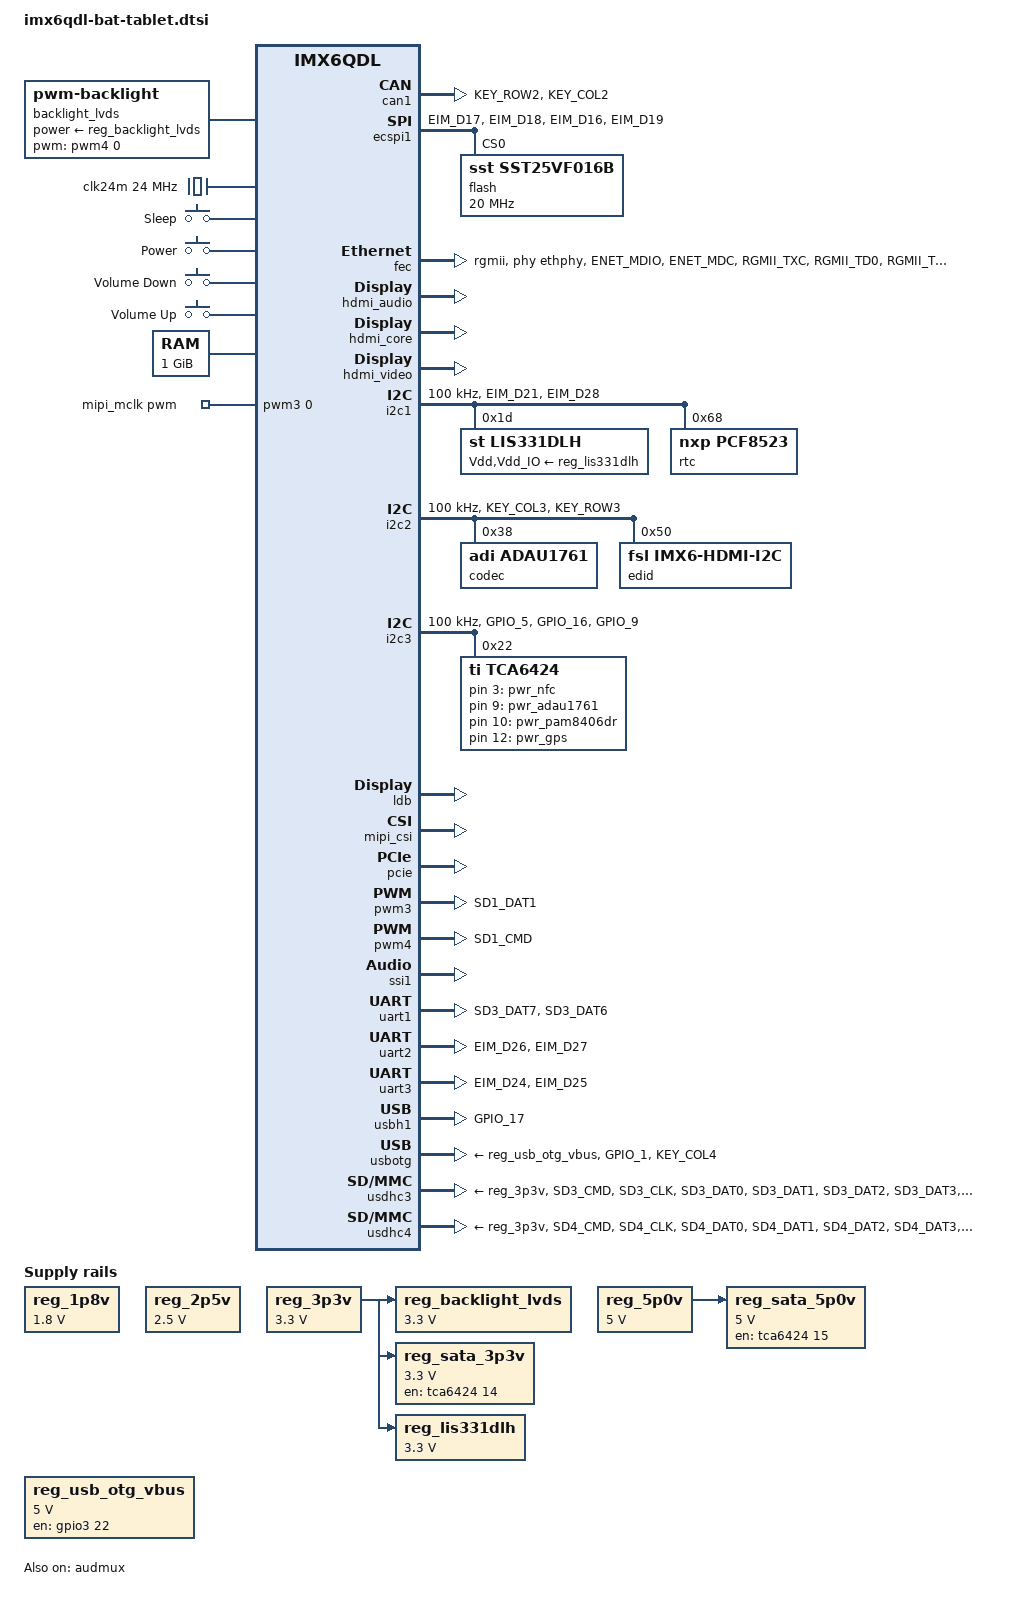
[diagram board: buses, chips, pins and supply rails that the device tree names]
/*
 * Copyright 2013-2016 Boundary Devices, Inc.
 * Copyright 2011-2015 Freescale Semiconductor, Inc.
 * Copyright 2011 Linaro Ltd.
 *
 * This file is dual-licensed: you can use it either under the terms
 * of the GPL or the X11 license, at your option. Note that this dual
 * licensing only applies to this file, and not this project as a
 * whole.
 *
 *  a) This file is free software; you can redistribute it and/or
 *     modify it under the terms of the GNU General Public License
 *     version 2 as published by the Free Software Foundation.
 *
 *     This file is distributed in the hope that it will be useful
 *     but WITHOUT ANY WARRANTY; without even the implied warranty of
 *     MERCHANTABILITY or FITNESS FOR A PARTICULAR PURPOSE.  See the
 *     GNU General Public License for more details.
 *
 * Or, alternatively
 *
 *  b) Permission is hereby granted, free of charge, to any person
 *     obtaining a copy of this software and associated documentation
 *     files (the "Software"), to deal in the Software without
 *     restriction, including without limitation the rights to use
 *     copy, modify, merge, publish, distribute, sublicense, and/or
 *     sell copies of the Software, and to permit persons to whom the
 *     Software is furnished to do so, subject to the following
 *     conditions:
 *
 *     The above copyright notice and this permission notice shall be
 *     included in all copies or substantial portions of the Software.
 *
 *     THE SOFTWARE IS PROVIDED , WITHOUT WARRANTY OF ANY KIND
 *     EXPRESS OR IMPLIED, INCLUDING BUT NOT LIMITED TO THE WARRANTIES
 *     OF MERCHANTABILITY, FITNESS FOR A PARTICULAR PURPOSE AND
 *     NONINFRINGEMENT. IN NO EVENT SHALL THE AUTHORS OR COPYRIGHT
 *     HOLDERS BE LIABLE FOR ANY CLAIM, DAMAGES OR OTHER LIABILITY
 *     WHETHER IN AN ACTION OF CONTRACT, TORT OR OTHERWISE, ARISING
 *     FROM, OUT OF OR IN CONNECTION WITH THE SOFTWARE OR THE USE OR
 *     OTHER DEALINGS IN THE SOFTWARE.
 */
#include <dt-bindings/gpio/gpio.h>
#include <dt-bindings/input/input.h>

&iomuxc {
	pinctrl-names = "default";
	pinctrl-0 = <&pinctrl_hog>;

	iomuxc_imx6q_bat_tablet: iomuxc-imx6q-bat-tabletgrp {
		status = "okay";
	};
};

&iomuxc_imx6q_bat_tablet {
	pinctrl_audmux: audmuxgrp {
		fsl,pins = <
			MX6QDL_PAD_SD2_DAT0__AUD4_RXD		0x130b0
			MX6QDL_PAD_SD2_DAT3__AUD4_TXC		0x130b0
			MX6QDL_PAD_SD2_DAT2__AUD4_TXD		0x110b0
			MX6QDL_PAD_SD2_DAT1__AUD4_TXFS		0x130b0
		>;
	};

	pinctrl_backlight_lvds: backlight-lvdsgrp {
		fsl,pins = <
		>;
#define GP_BACKLIGHT_LVDS_ENABLE		<&tca6424 6 GPIO_ACTIVE_HIGH>
#define GP_REGULATOR_BACKLIGHT_LVDS		<&tca6424 13 GPIO_ACTIVE_HIGH>
	};

	pinctrl_ecspi1: ecspi1grp {
		fsl,pins = <
			MX6QDL_PAD_EIM_D17__ECSPI1_MISO		0x100b1
			MX6QDL_PAD_EIM_D18__ECSPI1_MOSI		0x100b1
			MX6QDL_PAD_EIM_D16__ECSPI1_SCLK		0x000b1
#define GP_ECSPI1_NOR_CS	<&gpio3 19 GPIO_ACTIVE_LOW>
			MX6QDL_PAD_EIM_D19__GPIO3_IO19		0x0b0b1
		>;
	};

	pinctrl_enet: enetgrp {
		fsl,pins = <
			MX6QDL_PAD_ENET_MDIO__ENET_MDIO		0x1b0b0
			MX6QDL_PAD_ENET_MDC__ENET_MDC		0x1b0b0
			MX6QDL_PAD_RGMII_TXC__RGMII_TXC		0x100b0
			MX6QDL_PAD_RGMII_TD0__RGMII_TD0		0x100b0
			MX6QDL_PAD_RGMII_TD1__RGMII_TD1		0x100b0
			MX6QDL_PAD_RGMII_TD2__RGMII_TD2		0x100b0
			MX6QDL_PAD_RGMII_TD3__RGMII_TD3		0x100b0
			MX6QDL_PAD_RGMII_TX_CTL__RGMII_TX_CTL	0x100b0
			MX6QDL_PAD_ENET_REF_CLK__ENET_TX_CLK	0x100b0
			MX6QDL_PAD_RGMII_RXC__RGMII_RXC		0x1b0b0
			MX6QDL_PAD_RGMII_RD0__RGMII_RD0		0x1b0b0
			MX6QDL_PAD_RGMII_RD1__RGMII_RD1		0x1b0b0
			MX6QDL_PAD_RGMII_RD2__RGMII_RD2		0x1b0b0
			MX6QDL_PAD_RGMII_RD3__RGMII_RD3		0x1b0b0
			MX6QDL_PAD_RGMII_RX_CTL__RGMII_RX_CTL	0x1b0b0
#define GP_ENET_PHY_RESET	<&gpio3 23 GPIO_ACTIVE_LOW>
			MX6QDL_PAD_EIM_D23__GPIO3_IO23		0x030b0
#define GPIRQ_ENET_PHY		<&gpio1 28 IRQ_TYPE_LEVEL_LOW>
			MX6QDL_PAD_ENET_TX_EN__GPIO1_IO28	0x1b0b0
		>;
	};

	pinctrl_flexcan1: flexcan1grp {
		fsl,pins = <
			MX6QDL_PAD_KEY_ROW2__FLEXCAN1_RX	0x1b0b0
			MX6QDL_PAD_KEY_COL2__FLEXCAN1_TX	0x1b0b0
		>;
#define GP_FLEXCAN1_STANDBY	<&tca6424 18 GPIO_ACTIVE_LOW>
	};

	pinctrl_gpio_keys: gpio-keysgrp {
		fsl,pins = <
#define GP_GPIOKEY_POWER	<&gpio2 4 GPIO_ACTIVE_LOW>
			MX6QDL_PAD_NANDF_D4__GPIO2_IO04		0x1b0b0
#define GP_GPIOKEY_SLEEP	<&gpio2 3 GPIO_ACTIVE_HIGH>
			MX6QDL_PAD_NANDF_D3__GPIO2_IO03		0x1b0b0
#define GP_GPIOKEY_VOL_UP	<&gpio7 13 GPIO_ACTIVE_LOW>
			MX6QDL_PAD_GPIO_18__GPIO7_IO13		0x1b0b0
#define GP_GPIOKEY_VOL_DN	<&gpio4 5 GPIO_ACTIVE_LOW>
			MX6QDL_PAD_GPIO_19__GPIO4_IO05		0x1b0b0
		>;
	};

	pinctrl_hog: hoggrp {
		fsl,pins = <
			MX6QDL_PAD_NANDF_D7__GPIO2_IO07		0x1b0b0		/* Spare */
		>;
	};

	pinctrl_i2c1: i2c1grp {
		fsl,pins = <
			MX6QDL_PAD_EIM_D21__I2C1_SCL		0x4001b8b1
			MX6QDL_PAD_EIM_D28__I2C1_SDA		0x4001b8b1
		>;
	};

	pinctrl_i2c1_1: i2c1_1grp {
		fsl,pins = <
#define GP_I2C1_SCL	<&gpio3 21 GPIO_ACTIVE_HIGH>
			MX6QDL_PAD_EIM_D21__GPIO3_IO21		0x4001b8b1
#define GP_I2C1_SDA	<&gpio3 28 GPIO_ACTIVE_HIGH>
			MX6QDL_PAD_EIM_D28__GPIO3_IO28		0x4001b8b1
		>;
	};

	pinctrl_i2c2: i2c2grp {
		fsl,pins = <
			MX6QDL_PAD_KEY_COL3__I2C2_SCL		0x4001b8b1
			MX6QDL_PAD_KEY_ROW3__I2C2_SDA		0x4001b8b1
		>;
	};

	pinctrl_i2c2_1: i2c2_1grp {
		fsl,pins = <
#define GP_I2C2_SCL	<&gpio4 12 GPIO_ACTIVE_HIGH>
			MX6QDL_PAD_KEY_COL3__GPIO4_IO12		0x4001b8b1
#define GP_I2C2_SDA	<&gpio4 13 GPIO_ACTIVE_HIGH>
			MX6QDL_PAD_KEY_ROW3__GPIO4_IO13		0x4001b8b1
		>;
	};

	pinctrl_i2c2_adau1761: i2c2-adau1761grp {
		fsl,pins = <
			MX6QDL_PAD_GPIO_0__CCM_CLKO1		0x000b0		/* sys_mclk */
		>;
#define GP_ADAU1761_HP_DETECT <&tca6424 5 GPIO_ACTIVE_HIGH>
	};

	pinctrl_i2c2_ov5640_mipi_1: i2c2-ov5640-mipi-1grp {
		fsl,pins = <
#define GP_OV5640_MIPI_1_POWER_DOWN	<&gpio6 9 GPIO_ACTIVE_HIGH>
			MX6QDL_PAD_NANDF_WP_B__GPIO6_IO09	0x0b0b0
		>;
#define GP_OV5640_MIPI_1_RESET		<&tca6424 16 GPIO_ACTIVE_LOW>
	};

	pinctrl_i2c2_ov5640_mipi_2: i2c2-ov5640-mipi-2grp {
		fsl,pins = <
#define GP_OV5640_MIPI_2_POWER_DOWN	<&gpio2 5 GPIO_ACTIVE_HIGH>
			MX6QDL_PAD_NANDF_D5__GPIO2_IO05		0x0b0b0
		>;
#define GP_OV5640_MIPI_2_RESET		<&tca6424 17 GPIO_ACTIVE_LOW>
	};

	pinctrl_i2c2_lis331dlh: i2c2-lis331dlhgrp {
		fsl,pins = <
		>;
#define GP_REGULATOR_LIS331DLH		<&tca6424 11 GPIO_ACTIVE_HIGH>
#define GP_LIS331DLH_INT1			<&tca6424 0 GPIO_ACTIVE_HIGH>
#define GP_LIS331DLH_INT2			<&tca6424 1 GPIO_ACTIVE_HIGH>
	};

	pinctrl_i2c3: i2c3grp {
		fsl,pins = <
			MX6QDL_PAD_GPIO_5__I2C3_SCL		0x4001b8b1
			MX6QDL_PAD_GPIO_16__I2C3_SDA		0x4001b8b1
#define GPIRQ_I2C3_J7	<&gpio1 9 IRQ_TYPE_EDGE_FALLING>
#define GP_I2C3_J7	<&gpio1 9 GPIO_ACTIVE_LOW>
			MX6QDL_PAD_GPIO_9__GPIO1_IO09		0x1b0b0		/* I2C3 J7 interrupt */
		>;
	};

	pinctrl_i2c3_1: i2c3_1grp {
		fsl,pins = <
#define GP_I2C3_SCL	<&gpio1 5 GPIO_ACTIVE_HIGH>
			MX6QDL_PAD_GPIO_5__GPIO1_IO05		0x4001b8b1
#define GP_I2C3_SDA	<&gpio7 11 GPIO_ACTIVE_HIGH>
			MX6QDL_PAD_GPIO_16__GPIO7_IO11		0x4001b8b1
		>;
	};

	pinctrl_i2c3_tca6424: i2c3-tca6424grp {
		fsl,pins = <
#define GP_TCA6424_INT		<&gpio2 2 GPIO_ACTIVE_LOW>
			MX6QDL_PAD_NANDF_D2__GPIO2_IO02		0x1b0b0
		>;
	};

	pinctrl_ldb: ldbgrp {
		fsl,pins = <
		>;
#define GP_LDB_ENABLE		<&tca6424 7 GPIO_ACTIVE_HIGH>
	};

	pinctrl_pwm3: pwm3grp {
		fsl,pins = <
			MX6QDL_PAD_SD1_DAT1__PWM3_OUT		0x1b0b1
		>;
	};

	pinctrl_pwm4: pwm4grp {
		fsl,pins = <
			MX6QDL_PAD_SD1_CMD__PWM4_OUT		0x1b0b1
		>;
	};

	pinctrl_reg_usbotg_vbus: reg-usbotg-vbusgrp {
		fsl,pins = <
#define GP_REG_USBOTG	<&gpio3 22 GPIO_ACTIVE_HIGH>
			MX6QDL_PAD_EIM_D22__GPIO3_IO22		0x030b0
		>;
	};

	pinctrl_uart1: uart1grp {
		fsl,pins = <
			MX6QDL_PAD_SD3_DAT7__UART1_TX_DATA	0x1b0b1
			MX6QDL_PAD_SD3_DAT6__UART1_RX_DATA	0x1b0b1
		>;
	};

	pinctrl_uart2: uart2grp {
		fsl,pins = <
			MX6QDL_PAD_EIM_D26__UART2_TX_DATA	0x1b0b1
			MX6QDL_PAD_EIM_D27__UART2_RX_DATA	0x1b0b1
		>;
	};

	pinctrl_uart3: uart3grp {
		fsl,pins = <
			MX6QDL_PAD_EIM_D24__UART3_TX_DATA	0x1b0b1
			MX6QDL_PAD_EIM_D25__UART3_RX_DATA	0x1b0b1
		>;
	};

	pinctrl_usbh1: usbh1grp {
		fsl,pins = <
#define GP_USBH1_HUB_RESET	<&gpio7 12 GPIO_ACTIVE_LOW>
			MX6QDL_PAD_GPIO_17__GPIO7_IO12		0x0b0b0
		>;
	};

	pinctrl_usbotg: usbotggrp {
		fsl,pins = <
			MX6QDL_PAD_GPIO_1__USB_OTG_ID		0x17059
			MX6QDL_PAD_KEY_COL4__USB_OTG_OC		0x1b0b0
		>;
	};

	pinctrl_usdhc3: usdhc3grp {
		fsl,pins = <
			MX6QDL_PAD_SD3_CMD__SD3_CMD		0x17059
			MX6QDL_PAD_SD3_CLK__SD3_CLK		0x10059
			MX6QDL_PAD_SD3_DAT0__SD3_DATA0		0x17059
			MX6QDL_PAD_SD3_DAT1__SD3_DATA1		0x17059
			MX6QDL_PAD_SD3_DAT2__SD3_DATA2		0x17059
			MX6QDL_PAD_SD3_DAT3__SD3_DATA3		0x17059
#define GP_USDHC3_CD	<&gpio7 0 GPIO_ACTIVE_LOW>
			MX6QDL_PAD_SD3_DAT5__GPIO7_IO00		0x1b0b0
#define GP_USDHC3_WP	<&gpio7 1 GPIO_ACTIVE_HIGH>
			MX6QDL_PAD_SD3_DAT4__GPIO7_IO01		0x1b0b0
		>;
	};

	pinctrl_usdhc4: usdhc4grp {
		fsl,pins = <
			MX6QDL_PAD_SD4_CMD__SD4_CMD		0x17059
			MX6QDL_PAD_SD4_CLK__SD4_CLK		0x10059
			MX6QDL_PAD_SD4_DAT0__SD4_DATA0		0x17059
			MX6QDL_PAD_SD4_DAT1__SD4_DATA1		0x17059
			MX6QDL_PAD_SD4_DAT2__SD4_DATA2		0x17059
			MX6QDL_PAD_SD4_DAT3__SD4_DATA3		0x17059
#define GP_USDHC4_CD	<&gpio2 6 GPIO_ACTIVE_LOW>
			MX6QDL_PAD_NANDF_D6__GPIO2_IO06		0x1b0b0
		>;
	};
};

/ {
	aliases {
		backlight_lvds = &backlight_lvds;
		fb_hdmi = &fb_hdmi;
		fb_lvds = &fb_lvds;
		ldb = &ldb;
		mmc0 = &usdhc3;
		mmc1 = &usdhc4;
		mmc2 = &usdhc2;
		mxcfb0 = &fb_lvds;
		mxcfb1 = &fb_hdmi;
		pwm_lvds = &pwm4;
		t_lvds = &t_lvds;
		rtc0 = &rtc;
		rtc1 = &snvs_rtc;
	};

	backlight_lvds: backlight_lvds {
		pinctrl-names = "default";
		pinctrl-0 = <&pinctrl_backlight_lvds>;
		brightness-levels = <1 2 3 4 5 6 7 8 9 10>;
		compatible = "pwm-backlight";
		default-brightness-level = <8>;
		display = <&fb_lvds>;
		power-supply = <&reg_backlight_lvds>;
		pwms = <&pwm4 0 5000000>;
		enable-gpios = GP_BACKLIGHT_LVDS_ENABLE;
		status = "okay";
	};

	chosen {
		stdout-path = &uart2;
	};

	clocks {
		clk24m: clk24m {
			compatible = "fixed-clock";
			#clock-cells = <0>;
			clock-frequency = <24000000>;
		};
	};

	fb_lvds: fb@0 {
		compatible = "fsl,mxc_sdc_fb";
		disp_dev = "ldb";
		interface_pix_fmt = "RGB666";
		default_bpp = <16>;
		int_clk = <0>;
		late_init = <0>;
		status = "disabled";
	};

	fb_hdmi: fb@1 {
		compatible = "fsl,mxc_sdc_fb";
		disp_dev = "hdmi";
		interface_pix_fmt = "RGB24";
		mode_str ="1280x720M@60";
		default_bpp = <32>;
		int_clk = <0>;
		late_init = <0>;
		status = "disabled";
	};

	gpio-keys {
		compatible = "gpio-keys";
		pinctrl-names = "default";
		pinctrl-0 = <&pinctrl_gpio_keys>;

		sleep {
			label = "Sleep";
			gpios = GP_GPIOKEY_SLEEP;
			linux,code = <KEY_SLEEP>;
		};

		power {
			label = "Power";
			gpios = GP_GPIOKEY_POWER;
			linux,code = <KEY_POWER>;
			gpio-key,wakeup;
		};

		volume-down {
			label = "Volume Down";
			gpios = GP_GPIOKEY_VOL_DN;
			linux,code = <KEY_VOLUMEDOWN>;
		};

		volume-up {
			label = "Volume Up";
			gpios = GP_GPIOKEY_VOL_UP;
			linux,code = <KEY_VOLUMEUP>;
		};
	};

	leds {
		compatible = "gpio-leds";

		pwr_nfc {
			label = "pwr_nfc";
			gpios = <&tca6424 3 GPIO_ACTIVE_HIGH>;
			default-state = "on";
			linux,default-trigger = "none";
		};

		pwr_adau1761 {
			label = "pwr_adau1761";
			gpios = <&tca6424 9 GPIO_ACTIVE_HIGH>;
			default-state = "on";
			linux,default-trigger = "none";
		};

		pwr_pam8406dr {
			label = "pwr_pam8406dr";
			gpios = <&tca6424 10 GPIO_ACTIVE_HIGH>;
			default-state = "on";
			linux,default-trigger = "none";
		};

		pwr_gps {
			label = "pwr_gps";
			gpios = <&tca6424 12 GPIO_ACTIVE_HIGH>;
			default-state = "on";
			linux,default-trigger = "none";
		};

		/*
		pwr_sata3p3v {
			label = "pwr_sata_3p3v";
			gpios = <&tca6424 14 GPIO_ACTIVE_HIGH>;
			default-state = "on";
			linux,default-trigger = "none";
		};

		pwr_sata5p0v {
			label = "pwr_sata_5p0v";
			gpios = <&tca6424 15 GPIO_ACTIVE_HIGH>;
			default-state = "on";
			linux,default-trigger = "none";
		};
		*/
	};

	memory {
		reg = <0x10000000 0x40000000>;
	};

	mipi_mclk: mipi_mclk {
		compatible = "pwm-clock";
		#clock-cells = <0>;
		clock-frequency = <22000000>;
		clock-output-names = "mipi_mclk";
		pwms = <&pwm3 0 45>; /* 1 / 45 ns = 22 MHz */
	};

	regulators {
		compatible = "simple-bus";
		#address-cells = <1>;
		#size-cells = <0>;

		reg_1p8v: regulator@0 {
			compatible = "regulator-fixed";
			reg = <0>;
			regulator-name = "1P8V";
			regulator-min-microvolt = <1800000>;
			regulator-max-microvolt = <1800000>;
			regulator-always-on;
		};

		reg_2p5v: regulator@1 {
			compatible = "regulator-fixed";
			reg = <1>;
			regulator-name = "2P5V";
			regulator-min-microvolt = <2500000>;
			regulator-max-microvolt = <2500000>;
			regulator-always-on;
		};

		reg_3p3v: regulator@2 {
			compatible = "regulator-fixed";
			reg = <2>;
			regulator-name = "3P3V";
			regulator-min-microvolt = <3300000>;
			regulator-max-microvolt = <3300000>;
			regulator-always-on;
		};

		reg_5p0v: regulator@3 {
			compatible = "regulator-fixed";
			reg = <3>;
			regulator-name = "5P0V";
			regulator-min-microvolt = <5000000>;
			regulator-max-microvolt = <5000000>;
			regulator-always-on;
		};

		reg_usb_otg_vbus: regulator@4 {
			compatible = "regulator-fixed";
			reg = <4>;
			regulator-name = "usb_otg_vbus";
			regulator-min-microvolt = <5000000>;
			regulator-max-microvolt = <5000000>;
			gpio = <&gpio3 22 0>;
			enable-active-high;
		};

		reg_backlight_lvds: regulator@5 {
			compatible = "regulator-fixed";
			reg = <5>;
			regulator-name = "backlight_lvds_3P3V";
			regulator-min-microvolt = <3300000>;
			regulator-max-microvolt = <3300000>;
			regulator-boot-on;
			gpio = GP_REGULATOR_BACKLIGHT_LVDS;
			enable-active-high;
			startup-delay-us = <100000>;
			vin-supply = <&reg_3p3v>;
			regulator-state-mem {
				regulator-off-in-suspend;
			};
		};

		reg_sata_3p3v: regulator@6 {
			compatible = "regulator-fixed";
			reg = <6>;
			regulator-name = "sata_3P3V";
			regulator-min-microvolt = <3300000>;
			regulator-max-microvolt = <3300000>;
			regulator-always-on;
			/* regulator-boot-on; */
			gpio = <&tca6424 14 GPIO_ACTIVE_HIGH>;
			enable-active-high;
			/* startup-delay-us = <10000000>; */
			vin-supply = <&reg_3p3v>;
			regulator-state-mem {
				regulator-off-in-suspend;
			};
		};

		reg_sata_5p0v: regulator@7 {
			compatible = "regulator-fixed";
			reg = <7>;
			regulator-name = "sata_5P0V";
			regulator-min-microvolt = <5000000>;
			regulator-max-microvolt = <5000000>;
			regulator-always-on;
			/* regulator-boot-on; */
			gpio = <&tca6424 15 GPIO_ACTIVE_HIGH>;
			enable-active-high;
			/* startup-delay-us = <10000000>; */
			vin-supply = <&reg_5p0v>;
			regulator-state-mem {
				regulator-off-in-suspend;
			};
		};

		reg_lis331dlh: regulator@8 {
			compatible = "regulator-fixed";
			reg = <8>;
			regulator-name = "lis331dlh_3P3V";
			regulator-min-microvolt = <3300000>;
			regulator-max-microvolt = <3300000>;
			regulator-boot-on;
			gpio = GP_REGULATOR_LIS331DLH;
			enable-active-high;
			startup-delay-us = <100000>;
			vin-supply = <&reg_3p3v>;
			regulator-state-mem {
				regulator-off-in-suspend;
			};
		};
	};

	sound {
		compatible = "fsl,imx6q-adau1761",
			         "fsl,imx-audio-adau1761";
		model = "imx-adau1761";
		ssi-controller = <&ssi1>;
		audio-codec = <&codec>;
		asrc-controller = <&asrc>;
		codec-master;
		mux-int-port = <1>;
		mux-ext-port = <4>;
		audio-routing =
			"LAUX", "In 3-4",
			"RAUX", "In 3-4",
			"LINP", "In 1",
			"LINN", "In 1",
			"RINP", "In 2",
			"RINN", "In 2",
			"In 1", "MICBIAS",
			"In 2", "MICBIAS",
			"Capless HP Out", "LHP",
			"Capless HP Out", "RHP",
			"Diff Out L", "LOUT",
			"Diff Out R", "ROUT",
			"Stereo Out", "LOUT",
			"Stereo Out", "ROUT";
	};

	sound-hdmi {
		compatible = "fsl,imx6q-audio-hdmi",
			     "fsl,imx-audio-hdmi";
		model = "imx-audio-hdmi";
		hdmi-controller = <&hdmi_audio>;
	};

	v4l2_cap_0: v4l2_cap_0 {
		compatible = "fsl,imx6q-v4l2-capture";
		ipu_id = <0>;
		csi_id = <0>;
		mclk_source = <0>;
		status = "okay";
	};

	v4l2_cap_1: v4l2_cap_1 {
		compatible = "fsl,imx6q-v4l2-capture";
		ipu_id = <0>;
		csi_id = <1>;
		mipi_camera = <1>;
		mclk_source = <0>;
		status = "okay";
	};

	v4l2_cap_2: v4l2_cap_2 {
		compatible = "fsl,imx6q-v4l2-capture";
		ipu_id = <0>;
		csi_id = <1>;
		mclk_source = <0>;
		status = "okay";
	};

	v4l2_cap_3: v4l2_cap_3 {
		compatible = "fsl,imx6q-v4l2-capture";
		ipu_id = <0>;
		csi_id = <0>;
		mipi_camera = <1>;
		mclk_source = <0>;
		status = "okay";
	};

	v4l2_out {
		compatible = "fsl,mxc_v4l2_output";
		status = "okay";
	};
};

&audmux {
	pinctrl-names = "default";
	pinctrl-0 = <&pinctrl_audmux>;
	status = "okay";
};

&can1 {
	pinctrl-names = "default";
	pinctrl-0 = <&pinctrl_flexcan1>;
	trx-stby-gpio = GP_FLEXCAN1_STANDBY;
	status = "okay";
};

&ecspi1 {
	fsl,spi-num-chipselects = <1>;
	cs-gpios = GP_ECSPI1_NOR_CS;
	pinctrl-names = "default";
	pinctrl-0 = <&pinctrl_ecspi1>;
	status = "okay";

	flash: m25p80@0 {
		compatible = "sst,sst25vf016b", "jedec,spi-nor";
		spi-max-frequency = <20000000>;
		reg = <0>;
		#address-cells = <1>;
		#size-cells = <1>;
		mtd@00000000 {
			label = "U-Boot";
			reg = <0x0 0xC0000>;
		};
		mtd@000C0000 {
			label = "env";
			reg = <0xC0000 0x2000>;
		};
		mtd@000C2000 {
			label = "splash";
			reg = <0xC2000 0x13e000>;
		};
	};
};

&fec {
	phy-handle = <&ethphy>;
	phy-mode = "rgmii";
#if 0
	phy-reset-gpios = GP_ENET_PHY_RESET;
#endif
	pinctrl-names = "default";
	pinctrl-0 = <&pinctrl_enet>;
	rxc-skew-ps = <3000>;
	rxd0-skew-ps = <0>;
	rxd1-skew-ps = <0>;
	rxd2-skew-ps = <0>;
	rxd3-skew-ps = <0>;
	rxdv-skew-ps = <0>;
	txc-skew-ps = <3000>;
	txd0-skew-ps = <0>;
	txd1-skew-ps = <0>;
	txd2-skew-ps = <0>;
	txd3-skew-ps = <0>;
	txen-skew-ps = <0>;
	status = "okay";

	mdio {
		#address-cells = <0>;
		#size-cells = <1>;

		ethphy: ethernet-phy {
			interrupts-extended = GPIRQ_ENET_PHY;
		};
	};
};

&hdmi_audio {
	status = "okay";
};

&hdmi_core {
	ipu_id = <0>;
	disp_id = <0>;
	status = "okay";
};

&hdmi_video {
	fsl,phy_reg_vlev = <0x0294>;
	fsl,phy_reg_cksymtx = <0x800d>;
	status = "okay";
};

&i2c1 {
	clock-frequency = <100000>;
	pinctrl-names = "default", "gpio";
	pinctrl-0 = <&pinctrl_i2c1>;
	pinctrl-1 = <&pinctrl_i2c1_1>;
	scl-gpios = GP_I2C1_SCL;
	sda-gpios = GP_I2C1_SDA;
	status = "okay";

	lis331dlh@1d {
		compatible = "st,lis331dlh", "st,lis3lv02d";
		reg = <0x1d>;
		pinctrl-names = "default";
		pinctrl-0 = <&pinctrl_i2c2_lis331dlh>;

		Vdd-supply = <&reg_lis331dlh>;
		Vdd_IO-supply = <&reg_lis331dlh>;
		interrupts-extended = GP_LIS331DLH_INT1, GP_LIS331DLH_INT2;

		st,click-single-x;
		st,click-single-y;
		st,click-single-z;
		st,click-thresh-x = <10>;
		st,click-thresh-y = <10>;
		st,click-thresh-z = <10>;
		st,irq1-click;
		st,irq2-click;
		st,wakeup-x-lo;
		st,wakeup-x-hi;
		st,wakeup-y-lo;
		st,wakeup-y-hi;
		st,wakeup-z-lo;
		st,wakeup-z-hi;
		st,min-limit-x = <120>;
		st,min-limit-y = <120>;
		st,min-limit-z = <140>;
		st,max-limit-x = <550>;
		st,max-limit-y = <550>;
		st,max-limit-z = <750>;
	};

	rtc: pcf8523@68 {
		compatible = "nxp,pcf8523";
		reg = <0x68>;
	};
};

&i2c2 {
	clock-frequency = <100000>;
	pinctrl-names = "default", "gpio";
	pinctrl-0 = <&pinctrl_i2c2>;
	pinctrl-1 = <&pinctrl_i2c2_1>;
	scl-gpios = GP_I2C2_SCL;
	sda-gpios = GP_I2C2_SDA;
	status = "okay";

	codec: adau1761@38 {
		compatible = "adi,adau1761";
		reg = <0x38>;
		pinctrl-names = "default";
		pinctrl-0 = <&pinctrl_i2c2_adau1761>;
		clocks = <&clks IMX6QDL_CLK_CKO>;
		/* wlf,shared-lrclk; */
	};

	edid@50 {
		compatible = "fsl,imx6-hdmi-i2c";
		reg = <0x50>;
	};

	ov5640_mipi_1: ov5640_mipi_1@3c {
		compatible = "ovti,ov5640_mipi";
		reg = <0x3c>;
		status = "disabled"; /* TODO: ON */
		pinctrl-names = "default";
		pinctrl-0 = <&pinctrl_i2c2_ov5640_mipi_1>;
		clocks = <&mipi_mclk>;
		clock-names = "csi_mclk";
		DOVDD-supply = <&reg_1p8v>;
		AVDD-supply = <&reg_2p5v>;
		DVDD-supply = <&reg_1p8v>;
		pwn-gpios = GP_OV5640_MIPI_1_POWER_DOWN;
		rst-gpios = GP_OV5640_MIPI_1_RESET;
		ipu_id = <0>;
		csi_id = <1>;
		mclk = <22000000>;
		mclk_source = <0>;
	};

	ov5640_mipi_2: ov5640_mipi_2@3e {
		compatible = "ovti,ov5640_mipi";
		reg = <0x3e>;
		status = "disabled"; /* TODO: ON */
		pinctrl-names = "default";
		pinctrl-0 = <&pinctrl_i2c2_ov5640_mipi_2>;
		clocks = <&mipi_mclk>;
		clock-names = "csi_mclk";
		DOVDD-supply = <&reg_1p8v>;
		AVDD-supply = <&reg_2p5v>;
		DVDD-supply = <&reg_1p8v>;
		pwn-gpios = GP_OV5640_MIPI_2_POWER_DOWN;
		rst-gpios = GP_OV5640_MIPI_2_RESET;
		ipu_id = <0>;
		csi_id = <0>;
		mclk = <22000000>;
		mclk_source = <0>;
	};
};

&i2c3 {
	clock-frequency = <100000>;
	pinctrl-names = "default", "gpio";
	pinctrl-0 = <&pinctrl_i2c3>;
	pinctrl-1 = <&pinctrl_i2c3_1>;
	scl-gpios = GP_I2C3_SCL;
	sda-gpios = GP_I2C3_SDA;
	status = "okay";

	tca6424: tca6424@22 {
		compatible = "ti,tca6424";
		reg = <0x22>;
		pinctrl-names = "default";
		pinctrl-0 = <&pinctrl_i2c3_tca6424>;
		interrupt-parent = GP_TCA6424_INT;
		interrupts = <2 IRQ_TYPE_LEVEL_HIGH>;
		interrupt-names = "irq";

		gpio-controller;
		#gpio-cells = <2>;

		interrupt-controller;
		#interrupt-cells = <2>;
	};
};

&ldb {
	pinctrl-names = "default";
	pinctrl-0 = <&pinctrl_ldb>;
	status = "okay";
	enable-gpios = GP_LDB_ENABLE;

	lvds-channel@0 {
		crtc = "ipu1-di1";
		fsl,data-mapping = "spwg";
		fsl,data-width = <18>;
		status = "okay";
		primary;

		display-timings {
			t_lvds: t_lvds_default {
				/* amp1024x600 values may be changed in bootscript */
				clock-frequency = <51450000>;
				hactive = <1024>;
				vactive = <600>;
				hback-porch = <220>;
				hfront-porch = <40>;
				vback-porch = <21>;
				vfront-porch = <7>;
				hsync-len = <60>;
				vsync-len = <10>;
			};
		};
	};
};

&mipi_csi {
	lanes = <2>;
	status = "okay";
};

&pcie {
	status = "okay";
};

&pwm3 {
	pinctrl-names = "default";
	pinctrl-0 = <&pinctrl_pwm3>;
	status = "okay";
};

&pwm4 {
	pinctrl-names = "default";
	pinctrl-0 = <&pinctrl_pwm4>;
	status = "okay";
};

&ssi1 {
	fsl,mode = "i2s-slave";
	status = "okay";
};

&ssi2 {
	fsl,mode = "i2s-slave";
	status = "disabled";
};

&uart1 {
	pinctrl-names = "default";
	pinctrl-0 = <&pinctrl_uart1>;
	status = "okay";
};

&uart2 {
	pinctrl-names = "default";
	pinctrl-0 = <&pinctrl_uart2>;
	status = "okay";
};

&uart3 {
	pinctrl-names = "default";
	pinctrl-0 = <&pinctrl_uart3>;
	status = "okay";
};

&usbh1 {
	pinctrl-names = "default";
	pinctrl-0 = <&pinctrl_usbh1>;
	disable-over-current;
	reset-gpios = GP_USBH1_HUB_RESET;
	status = "okay";
};

&usbotg {
	vbus-supply = <&reg_usb_otg_vbus>;
	pinctrl-names = "default";
	pinctrl-0 = <&pinctrl_usbotg>;
	disable-over-current;
	status = "okay";
};

&usdhc3 {
	pinctrl-names = "default";
	pinctrl-0 = <&pinctrl_usdhc3>;
	cd-gpios = GP_USDHC3_CD;
	wp-gpios = GP_USDHC3_WP;
	vmmc-supply = <&reg_3p3v>;
	status = "okay";
};

&usdhc4 {
	pinctrl-names = "default";
	pinctrl-0 = <&pinctrl_usdhc4>;
	cd-gpios = GP_USDHC4_CD;
	vmmc-supply = <&reg_3p3v>;
	status = "okay";
};
